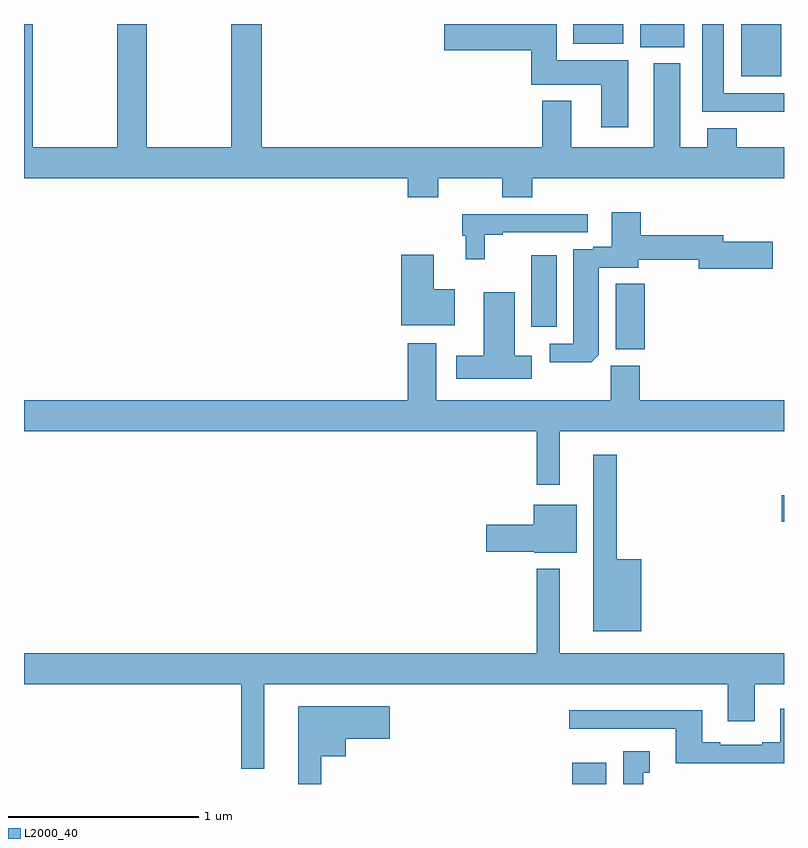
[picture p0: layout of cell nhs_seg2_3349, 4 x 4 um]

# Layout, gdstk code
import gdstk
lib = gdstk.Library(unit=1e-6, precision=1e-09)
def R(c, l, rs):  # rectangles x0, y0, x1, y1
    for r in rs: c.add(gdstk.rectangle(r[:2], r[2:], *l))
def P(c, l, *ps):  # polygons
    for p in ps: c.add(gdstk.Polygon(p, *l))
L2000_40 = (2000, 40)

nhs_seg2_3349 = lib.new_cell('nhs_seg2_3349')
R(nhs_seg2_3349, L2000_40, [(289.886,625.8,290.065,625.912), (290.988,627.179,291,627.321), (290.114,628.087,290.267,628.433), (289.67,628.206,289.804,628.582), (290.774,629.525,290.986,629.8), (290.243,629.678,290.476,629.8), (289.892,629.696,290.155,629.8)])
P(nhs_seg2_3349, L2000_40, [(289.179,628.988),(289.516,628.988),(289.516,628.889),(289.676,628.889),(289.676,628.988),(291,628.988),(291,629.152),(290.75,629.152),(290.75,629.251),(290.597,629.251),(290.597,629.152),(290.455,629.152),(290.455,629.593),(290.315,629.593),(290.315,629.152),(289.879,629.152),(289.879,629.395),(289.727,629.395),(289.727,629.152),(288.251,629.152),(288.251,629.8),(288.091,629.8),(288.091,629.152),(287.646,629.152),(287.646,629.8),(287.491,629.8),(287.491,629.152),(287.046,629.152),(287.046,629.8),(287,629.8),(287,628.988),(289.019,628.988),(289.019,628.889),(289.179,628.889)],
  [(291,629.436),(290.683,629.436),(290.683,629.8),(290.57,629.8),(290.57,629.339),(291,629.339)],
  [(290.179,629.608),(289.804,629.608),(289.804,629.8),(289.212,629.8),(289.212,629.663),(289.67,629.663),(289.67,629.48),(290.039,629.48),(290.039,629.256),(290.179,629.256)],
  [(290.026,628.06),(290.026,628.518),(290.233,628.518),(290.233,628.558),(290.552,628.558),(290.552,628.511),(290.941,628.511),(290.941,628.653),(290.68,628.653),(290.68,628.687),(290.246,628.687),(290.246,628.81),(290.093,628.81),(290.093,628.627),(289.997,628.627),(289.997,628.614),(289.892,628.614),(289.892,628.116),(289.767,628.116),(289.767,628.019),(289.985,628.019)],
  [(289.425,628.692),(289.519,628.692),(289.519,628.704),(289.966,628.704),(289.966,628.8),(289.306,628.8),(289.306,628.686),(289.325,628.686),(289.325,628.563),(289.425,628.563)],
  [(289.267,628.405),(289.156,628.405),(289.156,628.585),(288.986,628.585),(288.986,628.214),(289.267,628.214)],
  [(289.672,628.054),(289.582,628.054),(289.582,628.387),(289.421,628.387),(289.421,628.054),(289.275,628.054),(289.275,627.932),(289.672,627.932)],
  [(289.819,627.656),(291,627.656),(291,627.82),(290.24,627.82),(290.24,628.002),(290.089,628.002),(290.089,627.82),(289.171,627.82),(289.171,628.12),(289.019,628.12),(289.019,627.82),(287,627.82),(287,627.656),(289.698,627.656),(289.698,627.375),(289.819,627.375)],
  [(290.248,626.983),(290.119,626.983),(290.119,627.532),(289.997,627.532),(289.997,626.603),(290.248,626.603)],
  [(289.909,627.271),(289.682,627.271),(289.682,627.165),(289.434,627.165),(289.434,627.023),(289.686,627.023),(289.686,627.017),(289.909,627.017)],
  [(288.265,626.324),(290.705,626.324),(290.705,626.13),(290.845,626.13),(290.845,626.324),(291,626.324),(291,626.488),(289.819,626.488),(289.819,626.932),(289.698,626.932),(289.698,626.488),(287,626.488),(287,626.324),(288.144,626.324),(288.144,625.88),(288.265,625.88)],
  [(288.565,625.946),(288.694,625.946),(288.694,626.039),(288.925,626.039),(288.925,626.209),(288.443,626.209),(288.443,625.8),(288.565,625.8)],
  [(291,626.197),(290.981,626.197),(290.981,626.02),(290.885,626.02),(290.885,626.007),(290.665,626.007),(290.665,626.02),(290.569,626.02),(290.569,626.188),(289.869,626.188),(289.869,626.091),(290.429,626.091),(290.429,625.91),(291,625.91)],
  [(290.26,625.859),(290.293,625.859),(290.293,625.972),(290.153,625.972),(290.153,625.8),(290.26,625.8)])

lib.write_gds('nhs_seg2_3349.gds')
